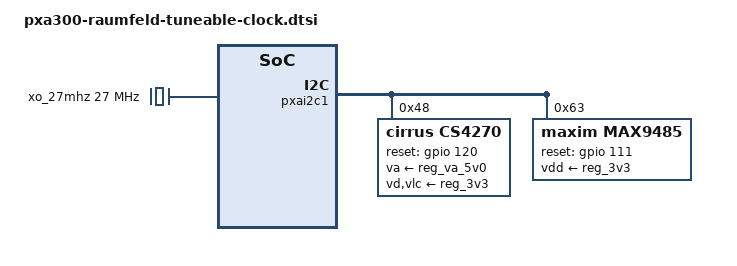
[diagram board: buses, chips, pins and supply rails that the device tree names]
// SPDX-License-Identifier: GPL-2.0

#include <dt-bindings/clock/maxim,max9485.h>

/ {
	xo_27mhz: oscillator-27mhz {
		compatible = "fixed-clock";
		#clock-cells = <0>;
		clock-frequency = <27000000>;
		clock-accuracy = <100>;
	};

	sound {
		compatible = "simple-audio-card";
		simple-audio-card,name = "Raumfeld Speaker";
		#address-cells = <1>;
		#size-cells = <0>;

		simple-audio-card,dai-link@0 {
			reg = <0>;
			format = "i2s";
			bitclock-master = <&dailink_master_analog>;
			frame-master = <&dailink_master_analog>;
			mclk-fs = <256>;

			dailink_master_analog: cpu {
				sound-dai = <&ssp_dai0>;
			};

			codec {
				sound-dai = <&cs4270>;
			};
		};
	};
};

&ssp_dai0 {
	clocks = <&max9485 MAX9485_CLKOUT1>;
};

&ssp_dai1 {
	clocks = <&max9485 MAX9485_CLKOUT1>;
};

&pxai2c1 {
	cs4270: codec@48 {
		compatible = "cirrus,cs4270";
		pinctrl-names = "default";
		pinctrl-0 = <&cs4270_pins>;
		reg = <0x48>;
		va-supply = <&reg_va_5v0>;
		vd-supply = <&reg_3v3>;
		vlc-supply = <&reg_3v3>;
		reset-gpios = <&gpio 120 GPIO_ACTIVE_HIGH>;
		#sound-dai-cells = <0>;
	};

	max9485: clock-generator@63 {
		compatible = "maxim,max9485";
		pinctrl-names = "default";
		pinctrl-0 = <&max9485_pins>;
		reg = <0x63>;
		vdd-supply = <&reg_3v3>;
		clock-names = "xclk";
		clocks = <&xo_27mhz>;
		reset-gpios = <&gpio 111 GPIO_ACTIVE_HIGH>;
		#clock-cells = <1>;
	};
};

&pinctrl {
	cs4270_pins: cs4270-pins {
		pinctrl-single,pins = <
			MFP_PIN_PXA300(120) MFP_AF0	/* RESET */
		>;
		pinctrl-single,low-power-mode = MFP_LPM(MFP_LPM_PULL_LOW);
	};

	max9485_pins: max9485-pins {
		pinctrl-single,pins = <
			MFP_PIN_PXA300(111) MFP_AF0	/* RESET */
		>;
		pinctrl-single,low-power-mode = MFP_LPM(MFP_LPM_PULL_LOW);
	};
};
